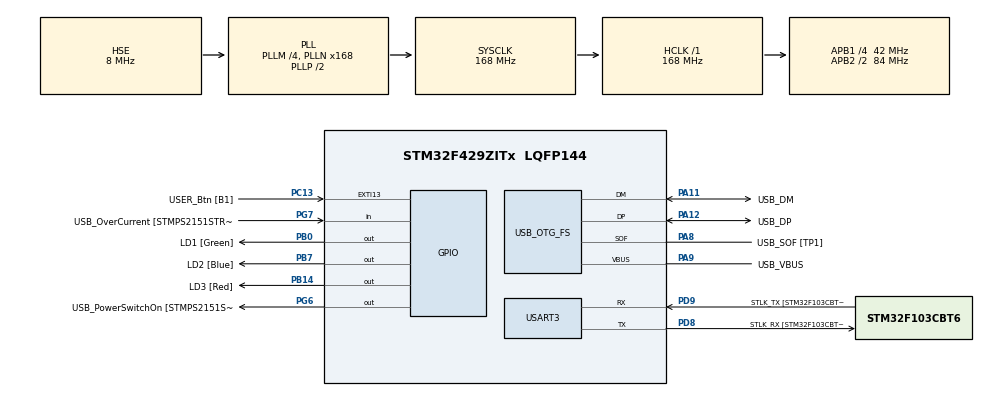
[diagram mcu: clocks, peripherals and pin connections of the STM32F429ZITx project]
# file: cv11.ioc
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Mcu.Family=STM32F4
Mcu.Name=STM32F429ZITx
Mcu.Package=LQFP144
NVIC.OTG_FS_IRQn=true\:0\:0\:false\:false\:true\:false\:true\:true
NVIC.PriorityGroup=NVIC_PRIORITYGROUP_4
PA1.GPIO_Label=RMII_REF_CLK [LAN8742A-CZ-TR_REFCLK0]
PA1.Signal=ETH_REF_CLK
PA10.GPIO_Label=USB_ID
PA10.Signal=USB_OTG_FS_ID
PA11.GPIO_Label=USB_DM
PA11.Mode=Device_Only
PA11.Signal=USB_OTG_FS_DM
PA12.GPIO_Label=USB_DP
PA12.Mode=Device_Only
PA12.Signal=USB_OTG_FS_DP
PA13.GPIO_Label=TMS
PA13.Mode=Serial_Wire
PA13.Signal=SYS_JTMS-SWDIO
PA14.GPIO_Label=TCK
PA14.Mode=Serial_Wire
PA14.Signal=SYS_JTCK-SWCLK
PA2.GPIO_Label=RMII_MDIO [LAN8742A-CZ-TR_MDIO]
PA2.Signal=ETH_MDIO
PA7.GPIO_Label=RMII_CRS_DV [LAN8742A-CZ-TR_CRS_DV]
PA7.Signal=ETH_CRS_DV
PA8.GPIO_Label=USB_SOF [TP1]
PA8.Mode=Activate_SOF_FS
PA8.Signal=USB_OTG_FS_SOF
PA9.GPIO_Label=USB_VBUS
PA9.Mode=Activate_VBUS
PA9.Signal=USB_OTG_FS_VBUS
PB0.GPIO_Label=LD1 [Green]
PB0.Signal=GPIO_Output
PB13.GPIO_Label=RMII_TXD1 [LAN8742A-CZ-TR_TXD1]
PB13.Signal=ETH_TXD1
PB14.GPIO_Label=LD3 [Red]
PB14.Signal=GPIO_Output
PB7.GPIO_Label=LD2 [Blue]
PB7.Signal=GPIO_Output
PC1.GPIO_Label=RMII_MDC [LAN8742A-CZ-TR_MDC]
PC1.Signal=ETH_MDC
PC13.GPIO_Label=USER_Btn [B1]
PC13.Signal=GPXTI13
PC14/OSC32_IN.Mode=LSE-External-Oscillator
PC14/OSC32_IN.Signal=RCC_OSC32_IN
PC15/OSC32_OUT.Mode=LSE-External-Oscillator
PC15/OSC32_OUT.Signal=RCC_OSC32_OUT
PC4.GPIO_Label=RMII_RXD0 [LAN8742A-CZ-TR_RXD0]
PC4.Signal=ETH_RXD0
PC5.GPIO_Label=RMII_RXD1 [LAN8742A-CZ-TR_RXD1]
PC5.Signal=ETH_RXD1
PD8.GPIO_Label=STLK_RX [STM32F103CBT6_PA3]
PD8.Mode=Asynchronous
PD8.Signal=USART3_TX
PD9.GPIO_Label=STLK_TX [STM32F103CBT6_PA2]
PD9.Mode=Asynchronous
PD9.Signal=USART3_RX
PG11.GPIO_Label=RMII_TX_EN [LAN8742A-CZ-TR_TXEN]
PG11.Signal=ETH_TX_EN
PG13.GPIO_Label=RMII_TXD0 [LAN8742A-CZ-TR_TXD0]
PG13.Signal=ETH_TXD0
PG6.GPIO_Label=USB_PowerSwitchOn [STMPS2151STR_EN]
PG6.Signal=GPIO_Output
PG7.GPIO_Label=USB_OverCurrent [STMPS2151STR_FAULT]
PG7.Signal=GPIO_Input
PH0/OSC_IN.GPIO_Label=MCO [STM32F103CBT6_PA8]
PH0/OSC_IN.Mode=HSE-External-Clock-Source
PH0/OSC_IN.Signal=RCC_OSC_IN
PH1/OSC_OUT.Mode=HSE-External-Clock-Source
PH1/OSC_OUT.Signal=RCC_OSC_OUT
ProjectManager.HeapSize=0x200
ProjectManager.StackSize=0x400
ProjectManager.TargetToolchain=STM32CubeIDE
RCC.48MHZClocksFreq_Value=48000000
RCC.AHBFreq_Value=168000000
RCC.APB1CLKDivider=RCC_HCLK_DIV4
RCC.APB1Freq_Value=42000000
RCC.APB1TimFreq_Value=84000000
RCC.APB2CLKDivider=RCC_HCLK_DIV2
RCC.APB2Freq_Value=84000000
RCC.APB2TimCLKDivider=2
RCC.APB2TimFreq_Value=168000000
RCC.CortexFreq_Value=168000000
RCC.HCLKFreq_Value=168000000
RCC.HSE_VALUE=8000000
RCC.HSI_VALUE=16000000
RCC.PLLM=4
RCC.PLLMUL=RCC_PLL_MUL9
RCC.PLLN=168
RCC.PLLQ=7
RCC.PRESCALERUSB=RCC_USBCLKSOURCE_PLL_DIV1_5
RCC.SYSCLKFreq_VALUE=168000000
RCC.SYSCLKSource=RCC_SYSCLKSOURCE_PLLCLK
RCC.SYSCLKSourceVirtual=RCC_SYSCLKSOURCE_PLLCLK
RCC.USBFreq_Value=48000000
RCC.VCOOutputFreq_Value=336000000
USART3.VirtualMode=VM_ASYNC
USB_DEVICE.CLASS_NAME_FS=HID
USB_DEVICE.VirtualMode-HID_FS=Hid
USB_DEVICE.VirtualModeFS=Hid_FS
USB_OTG_FS.VirtualMode=Device_Only
VP_USB_DEVICE_VS_USB_DEVICE_HID_FS.Mode=HID_FS
board=NUCLEO-F429ZI

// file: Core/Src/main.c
/* USER CODE BEGIN Header */
/**
  ******************************************************************************
  * @file           : main.c
  * @brief          : Main program body
  ******************************************************************************
  * @attention
  *
  * Copyright (c) 2023 STMicroelectronics.
  * All rights reserved.
  *
  * This software is licensed under terms that can be found in the LICENSE file
  * in the root directory of this software component.
  * If no LICENSE file comes with this software, it is provided AS-IS.
  *
  ******************************************************************************
  */
/* USER CODE END Header */
#include "main.h"
#include "usb_device.h"

/* USER CODE BEGIN Includes */
#include "usbd_hid.h"
#include <math.h>
extern USBD_HandleTypeDef hUsbDeviceFS;
/* USER CODE END Includes */

UART_HandleTypeDef huart3;

void SystemClock_Config(void);
static void MX_GPIO_Init(void);
static void MX_USART3_UART_Init(void);

/* USER CODE BEGIN 0 */
void step(int8_t x, int8_t y, uint8_t btn)
{
	uint8_t buff[4];
	buff[0] = btn; // leve tlacitko (0x01 nebo 0x00)
	buff[1] = (int8_t) (x); // posun X
	buff[2] = (int8_t) (y); // posun Y
	buff[3] = 0; // bez scrollu
	USBD_HID_SendReport(&hUsbDeviceFS, buff, sizeof(buff));
	HAL_Delay(USBD_HID_GetPollingInterval(&hUsbDeviceFS));
}

void draw_part_circle(uint16_t radius, float part, uint16_t no_of_segments)
{
    float delta_angle = 2 * M_PI * part / no_of_segments;
    int8_t prev_x = radius * cosf(0);
    int8_t prev_y = radius * sinf(0);
    // press the mouse button
    step(0,0,1);
    for (uint8_t i = 1; i <= no_of_segments+1; i++)
    {
    	float angle = delta_angle * i;
    	int8_t x = radius * cosf(angle);
    	int8_t y = radius * sinf(angle);
    	int8_t delta_x = x - prev_x;
    	int8_t delta_y = y - prev_y;
    	step(delta_x, delta_y, 1);
    	prev_x = x;
    	prev_y = y;
    }
    // release the mouse button
    step(0,0,0);
}

void smiley_face()
{
	uint16_t diameter = 100;
	// draw main circle
	draw_part_circle(diameter,1,100);
	// move left and draw left eye
	step(0, -diameter/8, 0);
	step(0, -diameter/8, 0);
	step(-diameter/4 * 3, 0, 0);
	draw_part_circle(diameter/5,1,100);//

	// move right and draw right eye
	step(diameter/4 * 2.5f, 0, 0);
	draw_part_circle(diameter/5,1,100);

	 // draw smile
	step(-diameter/8, diameter/3, 0);
	draw_part_circle(diameter/2, 0.5f,100);

	// draw nose
    step(diameter/5, -diameter/7, 0);
    // draw line
    step(0,0,1);
    step(0, -diameter/7, 1);
    step(0,0,0);

}
/* USER CODE END 0 */

int main(void)
{

  /* MCU Configuration--------------------------------------------------------*/

  /* Reset of all peripherals, Initializes the Flash interface and the Systick. */
  HAL_Init();

  /* Configure the system clock */
  SystemClock_Config();

  /* Initialize all configured peripherals */
  MX_GPIO_Init();
  MX_USART3_UART_Init();
  MX_USB_DEVICE_Init();

  /* Infinite loop */
  /* USER CODE BEGIN WHILE */
  uint32_t button_pressed;
  while (1)
  {
	  button_pressed = HAL_GPIO_ReadPin(USER_Btn_GPIO_Port, USER_Btn_Pin);

	  if (button_pressed)
	  {
		  smiley_face();
	  }
    /* USER CODE END WHILE */

  }
}

void SystemClock_Config(void)
{
  RCC_OscInitTypeDef RCC_OscInitStruct = {0};
  RCC_ClkInitTypeDef RCC_ClkInitStruct = {0};

  /** Configure the main internal regulator output voltage
  */
  __HAL_RCC_PWR_CLK_ENABLE();
  __HAL_PWR_VOLTAGESCALING_CONFIG(PWR_REGULATOR_VOLTAGE_SCALE1);

  /** Initializes the RCC Oscillators according to the specified parameters
  * in the RCC_OscInitTypeDef structure.
  */
  RCC_OscInitStruct.OscillatorType = RCC_OSCILLATORTYPE_HSE;
  RCC_OscInitStruct.HSEState = RCC_HSE_BYPASS;
  RCC_OscInitStruct.PLL.PLLState = RCC_PLL_ON;
  RCC_OscInitStruct.PLL.PLLSource = RCC_PLLSOURCE_HSE;
  RCC_OscInitStruct.PLL.PLLM = 4;
  RCC_OscInitStruct.PLL.PLLN = 168;
  RCC_OscInitStruct.PLL.PLLP = RCC_PLLP_DIV2;
  RCC_OscInitStruct.PLL.PLLQ = 7;
  if (HAL_RCC_OscConfig(&RCC_OscInitStruct) != HAL_OK)
  {
    Error_Handler();
  }

  /** Initializes the CPU, AHB and APB buses clocks
  */
  RCC_ClkInitStruct.ClockType = RCC_CLOCKTYPE_HCLK|RCC_CLOCKTYPE_SYSCLK
                              |RCC_CLOCKTYPE_PCLK1|RCC_CLOCKTYPE_PCLK2;
  RCC_ClkInitStruct.SYSCLKSource = RCC_SYSCLKSOURCE_PLLCLK;
  RCC_ClkInitStruct.AHBCLKDivider = RCC_SYSCLK_DIV1;
  RCC_ClkInitStruct.APB1CLKDivider = RCC_HCLK_DIV4;
  RCC_ClkInitStruct.APB2CLKDivider = RCC_HCLK_DIV2;

  if (HAL_RCC_ClockConfig(&RCC_ClkInitStruct, FLASH_LATENCY_5) != HAL_OK)
  {
    Error_Handler();
  }
}

static void MX_USART3_UART_Init(void)
{

  huart3.Instance = USART3;
  huart3.Init.BaudRate = 115200;
  huart3.Init.WordLength = UART_WORDLENGTH_8B;
  huart3.Init.StopBits = UART_STOPBITS_1;
  huart3.Init.Parity = UART_PARITY_NONE;
  huart3.Init.Mode = UART_MODE_TX_RX;
  huart3.Init.HwFlowCtl = UART_HWCONTROL_NONE;
  huart3.Init.OverSampling = UART_OVERSAMPLING_16;
  if (HAL_UART_Init(&huart3) != HAL_OK)
  {
    Error_Handler();
  }

}

static void MX_GPIO_Init(void)
{
  GPIO_InitTypeDef GPIO_InitStruct = {0};

  /* GPIO Ports Clock Enable */
  __HAL_RCC_GPIOC_CLK_ENABLE();
  __HAL_RCC_GPIOH_CLK_ENABLE();
  __HAL_RCC_GPIOA_CLK_ENABLE();
  __HAL_RCC_GPIOB_CLK_ENABLE();
  __HAL_RCC_GPIOD_CLK_ENABLE();
  __HAL_RCC_GPIOG_CLK_ENABLE();

  /*Configure GPIO pin Output Level */
  HAL_GPIO_WritePin(GPIOB, LD1_Pin|LD3_Pin|LD2_Pin, GPIO_PIN_RESET);

  /*Configure GPIO pin Output Level */
  HAL_GPIO_WritePin(USB_PowerSwitchOn_GPIO_Port, USB_PowerSwitchOn_Pin, GPIO_PIN_RESET);

  /*Configure GPIO pin : USER_Btn_Pin */
  GPIO_InitStruct.Pin = USER_Btn_Pin;
  GPIO_InitStruct.Mode = GPIO_MODE_IT_RISING;
  GPIO_InitStruct.Pull = GPIO_NOPULL;
  HAL_GPIO_Init(USER_Btn_GPIO_Port, &GPIO_InitStruct);

  /*Configure GPIO pins : RMII_MDC_Pin RMII_RXD0_Pin RMII_RXD1_Pin */
  GPIO_InitStruct.Pin = RMII_MDC_Pin|RMII_RXD0_Pin|RMII_RXD1_Pin;
  GPIO_InitStruct.Mode = GPIO_MODE_AF_PP;
  GPIO_InitStruct.Pull = GPIO_NOPULL;
  GPIO_InitStruct.Speed = GPIO_SPEED_FREQ_VERY_HIGH;
  GPIO_InitStruct.Alternate = GPIO_AF11_ETH;
  HAL_GPIO_Init(GPIOC, &GPIO_InitStruct);

  /*Configure GPIO pins : RMII_REF_CLK_Pin RMII_MDIO_Pin RMII_CRS_DV_Pin */
  GPIO_InitStruct.Pin = RMII_REF_CLK_Pin|RMII_MDIO_Pin|RMII_CRS_DV_Pin;
  GPIO_InitStruct.Mode = GPIO_MODE_AF_PP;
  GPIO_InitStruct.Pull = GPIO_NOPULL;
  GPIO_InitStruct.Speed = GPIO_SPEED_FREQ_VERY_HIGH;
  GPIO_InitStruct.Alternate = GPIO_AF11_ETH;
  HAL_GPIO_Init(GPIOA, &GPIO_InitStruct);

  /*Configure GPIO pins : LD1_Pin LD3_Pin LD2_Pin */
  GPIO_InitStruct.Pin = LD1_Pin|LD3_Pin|LD2_Pin;
  GPIO_InitStruct.Mode = GPIO_MODE_OUTPUT_PP;
  GPIO_InitStruct.Pull = GPIO_NOPULL;
  GPIO_InitStruct.Speed = GPIO_SPEED_FREQ_LOW;
  HAL_GPIO_Init(GPIOB, &GPIO_InitStruct);

  /*Configure GPIO pin : RMII_TXD1_Pin */
  GPIO_InitStruct.Pin = RMII_TXD1_Pin;
  GPIO_InitStruct.Mode = GPIO_MODE_AF_PP;
  GPIO_InitStruct.Pull = GPIO_NOPULL;
  GPIO_InitStruct.Speed = GPIO_SPEED_FREQ_VERY_HIGH;
  GPIO_InitStruct.Alternate = GPIO_AF11_ETH;
  HAL_GPIO_Init(RMII_TXD1_GPIO_Port, &GPIO_InitStruct);

  /*Configure GPIO pin : USB_PowerSwitchOn_Pin */
  GPIO_InitStruct.Pin = USB_PowerSwitchOn_Pin;
  GPIO_InitStruct.Mode = GPIO_MODE_OUTPUT_PP;
  GPIO_InitStruct.Pull = GPIO_NOPULL;
  GPIO_InitStruct.Speed = GPIO_SPEED_FREQ_LOW;
  HAL_GPIO_Init(USB_PowerSwitchOn_GPIO_Port, &GPIO_InitStruct);

  /*Configure GPIO pin : USB_OverCurrent_Pin */
  GPIO_InitStruct.Pin = USB_OverCurrent_Pin;
  GPIO_InitStruct.Mode = GPIO_MODE_INPUT;
  GPIO_InitStruct.Pull = GPIO_NOPULL;
  HAL_GPIO_Init(USB_OverCurrent_GPIO_Port, &GPIO_InitStruct);

  /*Configure GPIO pins : RMII_TX_EN_Pin RMII_TXD0_Pin */
  GPIO_InitStruct.Pin = RMII_TX_EN_Pin|RMII_TXD0_Pin;
  GPIO_InitStruct.Mode = GPIO_MODE_AF_PP;
  GPIO_InitStruct.Pull = GPIO_NOPULL;
  GPIO_InitStruct.Speed = GPIO_SPEED_FREQ_VERY_HIGH;
  GPIO_InitStruct.Alternate = GPIO_AF11_ETH;
  HAL_GPIO_Init(GPIOG, &GPIO_InitStruct);

}

void Error_Handler(void)
{
  __disable_irq();
  while (1)
  {
  }
}
